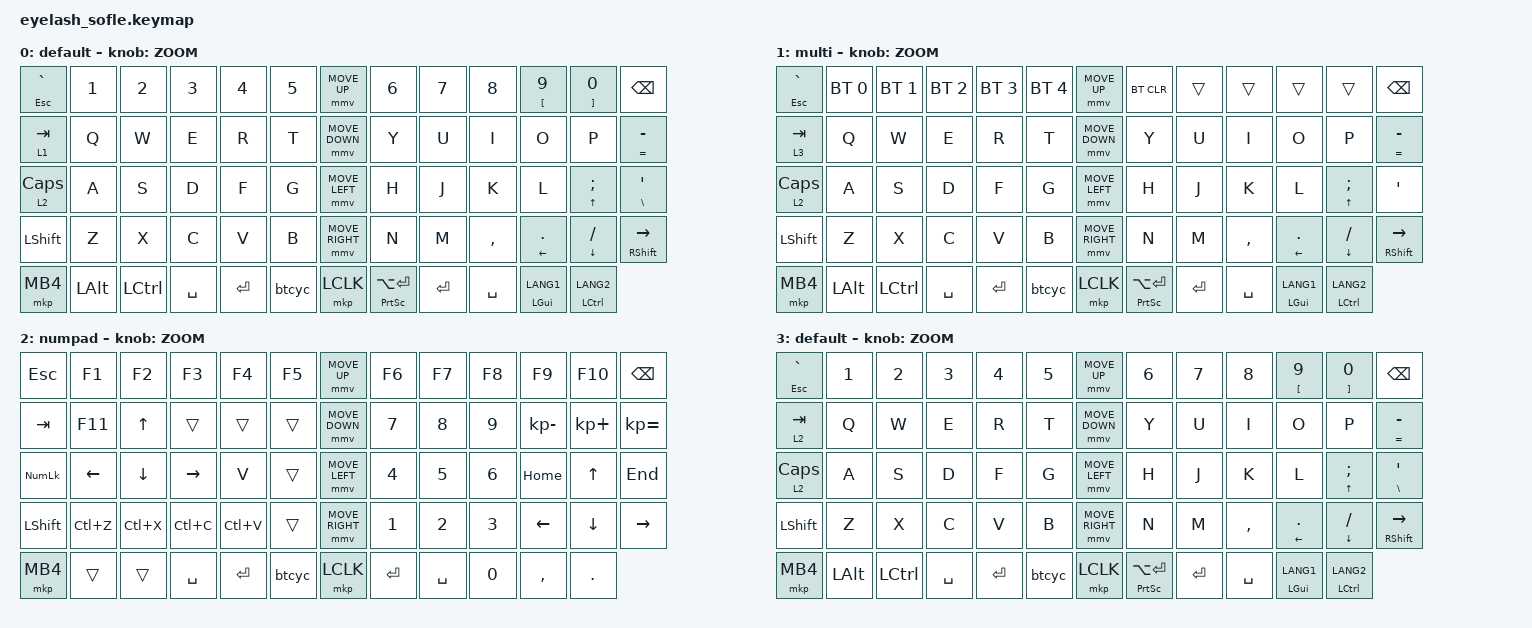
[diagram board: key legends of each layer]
#define ZMK_POINTING_DEFAULT_MOVE_VAL 1200  // 600
#define ZMK_POINTING_DEFAULT_SCRL_VAL 25   // 10

#include <input/processors.dtsi>
#include <zephyr/dt-bindings/input/input-event-codes.h>
#include <behaviors.dtsi>
#include <dt-bindings/zmk/bt.h>
#include <dt-bindings/zmk/keys.h>
#include <dt-bindings/zmk/pointing.h>

&mmv_input_listener { input-processors = <&zip_xy_scaler 2 1>; };

&msc_input_listener { input-processors = <&zip_scroll_scaler 2 1>; };

&msc {
    acceleration-exponent = <1>;      // 0
    time-to-max-speed-ms = <100>;       // 300
    delay-ms = <0>;                   // 0
};

&mmv {
    time-to-max-speed-ms = <500>;
    acceleration-exponent = <1>;
    trigger-period-ms = <16>;
};

&soft_off { hold-time-ms = <2000>; };

/ {
    scroll_encoder: scroll_encoder {
        compatible = "zmk,behavior-sensor-rotate";
        #sensor-binding-cells = <0>;
        bindings = <&msc SCRL_DOWN>, <&msc SCRL_UP>;

        tap-ms = <100>;
    };

    holdtap: holdtap {
        compatible = "zmk,behavior-hold-tap";
        label = "200tap";
        bindings = <&kp>, <&kp>;

        #binding-cells = <2>;
        tapping-term-ms = <200>;
        flavor = "tap-preferred";
        quick-tap-ms = <150>;
        require-prior-idle-ms = <125>;
    };

    retrotaph: retrotaph {
        compatible = "zmk,behavior-hold-tap";
        label = "retrotap";
        bindings = <&kp>, <&kp>;

        #binding-cells = <2>;
        retro-tap;
        tapping-term-ms = <150>;
        quick-tap-ms = <200>;
        hold-while-undecided;
    };

    btcyc: btcyc {
        compatible = "zmk,behavior-tap-dance";
        label = "BTCYC";
        #binding-cells = <0>;
        bindings = <&bt BT_NXT>, <&bt BT_PRV>;
    };

    ZOOM: ZOOM {
        compatible = "zmk,behavior-sensor-rotate";
        #sensor-binding-cells = <0>;
        bindings = <&kp LC(MINUS)>, <&kp LC(EQUAL)>;

        tap-ms = <100>;
        label = "ZOOM";
    };

    behaviors {
    };

    combos {
        compatible = "zmk,combos";

        to1 {
            bindings = <&tog 1>;
            key-positions = <47 59>;
        };

        tog2 {
            bindings = <&tog 2>;
            key-positions = <46 59>;
        };
    };

    keymap {
        compatible = "zmk,keymap";

        default {
            bindings = <
&holdtap ESC GRAVE  &kp N1        &kp N2            &kp N3     &kp N4     &kp N5    &mmv MOVE_UP     &kp N6                          &kp N7     &kp N8     &holdtap LEFT_BRACKET N9  &holdtap RIGHT_BRACKET N0    &kp BACKSPACE
&lt 1 TAB           &kp Q         &kp W             &kp E      &kp R      &kp T     &mmv MOVE_DOWN   &kp Y                           &kp U      &kp I      &kp O                     &kp P                        &mt EQUAL MINUS
&lt 2 CAPS          &kp A         &kp S             &kp D      &kp F      &kp G     &mmv MOVE_LEFT   &kp H                           &kp J      &kp K      &kp L                     &holdtap UP_ARROW SEMICOLON  &mt BACKSLASH APOS
&kp LSHFT           &kp Z         &kp X             &kp C      &kp V      &kp B     &mmv MOVE_RIGHT  &kp N                           &kp M      &kp COMMA  &holdtap LEFT PERIOD      &holdtap DOWN SLASH          &retrotaph RIGHT_SHIFT RIGHT
&mkp MB4            &kp LEFT_ALT  &kp LEFT_CONTROL  &kp SPACE  &kp ENTER  &btcyc    &mkp LCLK        &holdtap PRINTSCREEN LA(ENTER)  &kp ENTER  &kp SPACE  &holdtap LEFT_GUI LANG1   &holdtap LEFT_CONTROL LANG2
            >;

            sensor-bindings = <&ZOOM>;
            display-name = "default";
        };

        multi {
            display-name = "multi";
            bindings = <
&holdtap ESC GRAVE  &bt BT_SEL 0  &bt BT_SEL 1      &bt BT_SEL 2  &bt BT_SEL 3  &bt BT_SEL 4    &mmv MOVE_UP     &bt BT_CLR                      &trans     &trans     &trans                   &trans                       &kp BACKSPACE
&lt 3 TAB           &kp Q         &kp W             &kp E         &kp R         &kp T           &mmv MOVE_DOWN   &kp Y                           &kp U      &kp I      &kp O                    &kp P                        &mt EQUAL MINUS
&lt 2 CAPS          &kp A         &kp S             &kp D         &kp F         &kp G           &mmv MOVE_LEFT   &kp H                           &kp J      &kp K      &kp L                    &holdtap UP_ARROW SEMICOLON  &kp APOS
&kp LSHFT           &kp Z         &kp X             &kp C         &kp V         &kp B           &mmv MOVE_RIGHT  &kp N                           &kp M      &kp COMMA  &holdtap LEFT PERIOD     &holdtap DOWN SLASH          &retrotaph RIGHT_SHIFT RIGHT
&mkp MB4            &kp LEFT_ALT  &kp LEFT_CONTROL  &kp SPACE     &kp ENTER     &btcyc          &mkp LCLK        &holdtap PRINTSCREEN LA(ENTER)  &kp ENTER  &kp SPACE  &holdtap LEFT_GUI LANG1  &holdtap LEFT_CONTROL LANG2
            >;

            sensor-bindings = <&ZOOM>;
        };

        numpad {
            bindings = <
&kp ESCAPE      &kp F1     &kp F2     &kp F3     &kp F4     &kp F5    &mmv MOVE_UP     &kp F6     &kp F7     &kp F8  &kp F9        &kp F10      &kp BACKSPACE
&kp TAB         &kp F11    &kp UP     &trans     &trans     &trans    &mmv MOVE_DOWN   &kp N7     &kp N8     &kp N9  &kp KP_MINUS  &kp KP_PLUS  &kp KP_EQUAL
&kp KP_NUMLOCK  &kp LEFT   &kp DOWN   &kp RIGHT  &kp V      &trans    &mmv MOVE_LEFT   &kp N4     &kp N5     &kp N6  &kp HOME      &kp UP       &kp END
&kp LEFT_SHIFT  &kp LC(Z)  &kp LC(X)  &kp LC(C)  &kp LC(V)  &trans    &mmv MOVE_RIGHT  &kp N1     &kp N2     &kp N3  &kp LEFT      &kp DOWN     &kp RIGHT
&mkp MB4        &trans     &trans     &kp SPACE  &kp ENTER  &btcyc    &mkp LCLK        &kp ENTER  &kp SPACE  &kp N0  &kp COMMA     &kp PERIOD
            >;

            display-name = "numpad";
            sensor-bindings = <&ZOOM>;
        };

        layer_4 {
            display-name = "default";
            bindings = <
&holdtap ESC GRAVE  &kp N1        &kp N2            &kp N3     &kp N4     &kp N5    &mmv MOVE_UP     &kp N6                          &kp N7     &kp N8     &holdtap LEFT_BRACKET N9  &holdtap RIGHT_BRACKET N0    &kp BACKSPACE
&lt 2 TAB           &kp Q         &kp W             &kp E      &kp R      &kp T     &mmv MOVE_DOWN   &kp Y                           &kp U      &kp I      &kp O                     &kp P                        &mt EQUAL MINUS
&lt 2 CAPS          &kp A         &kp S             &kp D      &kp F      &kp G     &mmv MOVE_LEFT   &kp H                           &kp J      &kp K      &kp L                     &holdtap UP_ARROW SEMICOLON  &mt BACKSLASH APOS
&kp LSHFT           &kp Z         &kp X             &kp C      &kp V      &kp B     &mmv MOVE_RIGHT  &kp N                           &kp M      &kp COMMA  &holdtap LEFT PERIOD      &holdtap DOWN SLASH          &retrotaph RIGHT_SHIFT RIGHT
&mkp MB4            &kp LEFT_ALT  &kp LEFT_CONTROL  &kp SPACE  &kp ENTER  &btcyc    &mkp LCLK        &holdtap PRINTSCREEN LA(ENTER)  &kp ENTER  &kp SPACE  &holdtap LEFT_GUI LANG1   &holdtap LEFT_CONTROL LANG2
            >;

            sensor-bindings = <&ZOOM>;
        };
    };

    conditional_layers { compatible = "zmk,conditional-layers"; };
};
